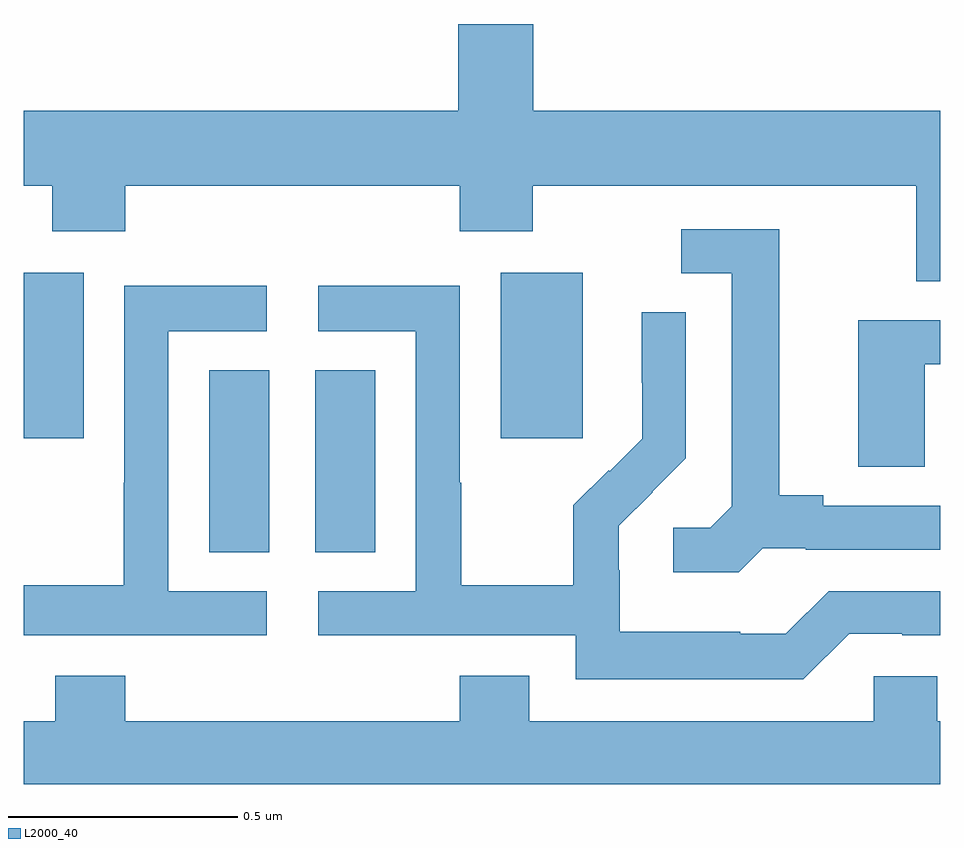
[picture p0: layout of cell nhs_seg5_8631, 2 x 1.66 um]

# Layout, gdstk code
import gdstk
lib = gdstk.Library(unit=1e-6, precision=1e-09)
def R(c, l, rs):  # rectangles x0, y0, x1, y1
    for r in rs: c.add(gdstk.rectangle(r[:2], r[2:], *l))
def P(c, l, *ps):  # polygons
    for p in ps: c.add(gdstk.Polygon(p, *l))
L2000_40 = (2000, 40)

nhs_seg5_8631 = lib.new_cell('nhs_seg5_8631')
R(nhs_seg5_8631, L2000_40, [(224.405,845.305,224.536,845.702), (224.636,845.305,224.767,845.702), (224,845.553,224.131,845.914), (225.041,845.553,225.22,845.914)])
P(nhs_seg5_8631, L2000_40, [(226,846.268),(225.112,846.268),(225.112,846.457),(224.948,846.457),(224.948,846.268),(224,846.268),(224,846.104),(224.062,846.104),(224.062,846.005),(224.222,846.005),(224.222,846.104),(224.951,846.104),(224.951,846.005),(225.111,846.005),(225.111,846.104),(225.947,846.104),(225.947,845.896),(226,845.896)],
  [(225.612,845.313),(225.706,845.313),(225.706,845.31),(226,845.31),(226,845.406),(225.745,845.406),(225.745,845.429),(225.649,845.429),(225.649,846.009),(225.435,846.009),(225.435,845.913),(225.545,845.913),(225.545,845.405),(225.498,845.358),(225.417,845.358),(225.417,845.261),(225.56,845.261)],
  [(225.801,845.127),(225.917,845.127),(225.917,845.124),(226,845.124),(226,845.22),(225.756,845.22),(225.663,845.127),(225.563,845.127),(225.563,845.131),(225.3,845.131),(225.3,845.265),(225.298,845.265),(225.298,845.362),(225.372,845.436),(225.371,845.437),(225.444,845.51),(225.444,845.828),(225.348,845.828),(225.348,845.674),(225.35,845.674),(225.35,845.552),(225.279,845.481),(225.276,845.484),(225.199,845.407),(225.199,845.233),(224.955,845.233),(224.955,845.456),(224.952,845.456),(224.952,845.886),(224.643,845.886),(224.643,845.787),(224.856,845.787),(224.856,845.22),(224.643,845.22),(224.643,845.124),(225.204,845.124),(225.204,845.027),(225.701,845.027)],
  [(224.53,845.22),(224.316,845.22),(224.316,845.787),(224.53,845.787),(224.53,845.886),(224.22,845.886),(224.22,845.456),(224.218,845.456),(224.218,845.233),(224,845.233),(224,845.124),(224.53,845.124)],
  [(225.966,845.715),(226,845.715),(226,845.811),(225.821,845.811),(225.821,845.491),(225.966,845.491)],
  [(226,844.936),(225.993,844.936),(225.993,845.034),(225.855,845.034),(225.855,844.936),(225.103,844.936),(225.103,845.035),(224.951,845.035),(224.951,844.936),(224.222,844.936),(224.222,845.035),(224.069,845.035),(224.069,844.936),(224,844.936),(224,844.799),(226,844.799)])

lib.write_gds('nhs_seg5_8631.gds')
